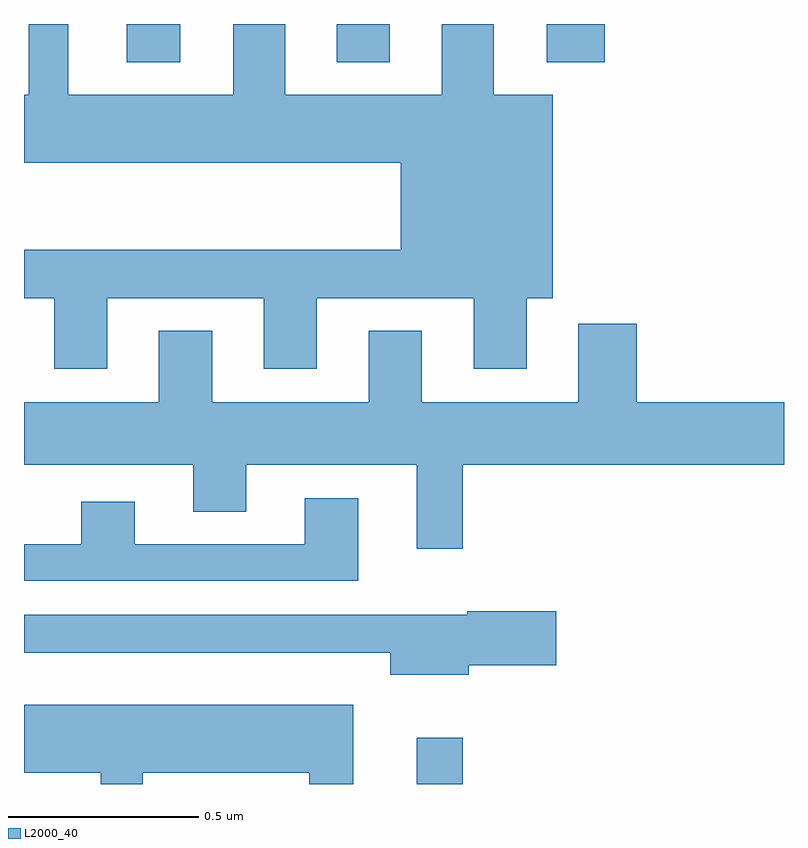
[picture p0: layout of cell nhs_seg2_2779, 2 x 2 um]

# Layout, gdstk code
import gdstk
lib = gdstk.Library(unit=1e-6, precision=1e-09)
def R(c, l, rs):  # rectangles x0, y0, x1, y1
    for r in rs: c.add(gdstk.rectangle(r[:2], r[2:], *l))
def P(c, l, *ps):  # polygons
    for p in ps: c.add(gdstk.Polygon(p, *l))
L2000_40 = (2000, 40)

nhs_seg2_2779 = lib.new_cell('nhs_seg2_2779')
R(nhs_seg2_2779, L2000_40, [(146.033,642.8,146.155,642.922), (145.271,644.699,145.411,644.8), (145.823,644.699,145.963,644.8), (146.375,644.699,146.528,644.8)])
P(nhs_seg2_2779, L2000_40, [(145.219,644.078),(145.631,644.078),(145.631,643.893),(145.771,643.893),(145.771,644.078),(146.183,644.078),(146.183,643.893),(146.323,643.893),(146.323,644.078),(146.392,644.078),(146.392,644.614),(146.236,644.614),(146.236,644.8),(146.099,644.8),(146.099,644.614),(145.687,644.614),(145.687,644.8),(145.55,644.8),(145.55,644.614),(145.117,644.614),(145.117,644.8),(145.013,644.8),(145.013,644.614),(145,644.614),(145,644.435),(145.991,644.435),(145.991,644.206),(145,644.206),(145,644.078),(145.079,644.078),(145.079,643.893),(145.219,643.893)],
  [(146.155,643.64),(147,643.64),(147,643.804),(146.612,643.804),(146.612,644.011),(146.459,644.011),(146.459,643.804),(146.047,643.804),(146.047,643.993),(145.907,643.993),(145.907,643.804),(145.495,643.804),(145.495,643.993),(145.355,643.993),(145.355,643.804),(145,643.804),(145,643.64),(145.445,643.64),(145.445,643.516),(145.585,643.516),(145.585,643.64),(146.033,643.64),(146.033,643.419),(146.155,643.419)],
  [(145.879,643.552),(145.739,643.552),(145.739,643.431),(145.291,643.431),(145.291,643.543),(145.151,643.543),(145.151,643.431),(145,643.431),(145,643.335),(145.879,643.335)],
  [(146.17,643.112),(146.401,643.112),(146.401,643.254),(146.166,643.254),(146.166,643.246),(145,643.246),(145,643.145),(145.964,643.145),(145.964,643.088),(146.17,643.088)],
  [(145.312,642.83),(145.751,642.83),(145.751,642.8),(145.867,642.8),(145.867,643.009),(145,643.009),(145,642.83),(145.202,642.83),(145.202,642.8),(145.312,642.8)])

lib.write_gds('nhs_seg2_2779.gds')
